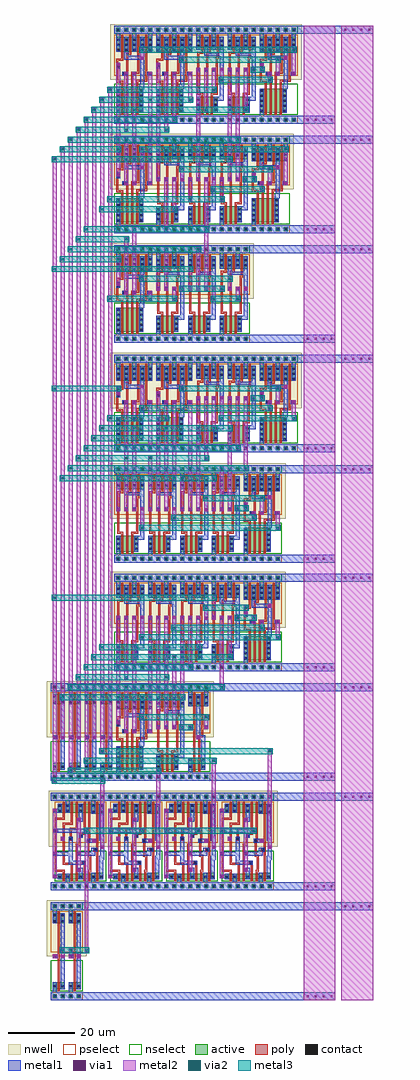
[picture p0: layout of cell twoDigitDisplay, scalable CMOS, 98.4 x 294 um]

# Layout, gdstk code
import gdstk
lib = gdstk.Library(unit=1e-6, precision=1e-09)
def R(c, l, rs):  # rectangles x0, y0, x1, y1
    for r in rs: c.add(gdstk.rectangle(r[:2], r[2:], *l))
def A(c, l, x, y, w, h, nx, ny, dx, dy):  # array of equal rectangles
    R(c, l, [(x+i*dx, y+j*dy, x+i*dx+w, y+j*dy+h) for i in range(nx) for j in range(ny)])
def P(c, l, *ps):  # polygons
    for p in ps: c.add(gdstk.Polygon(p, *l))
contact = (25, 0)
nwell = (42, 0)
active = (43, 0)
pselect = (44, 0)
nselect = (45, 0)
poly = (46, 0)
metal1 = (49, 0)
via1 = (50, 0)
metal2 = (51, 0)
via2 = (61, 0)
metal3 = (62, 0)

nand4_1x = lib.new_cell('nand4_1x')
A(nand4_1x, contact, 0.9, -0.3, 0.6, 0.6, 5, 2, 2.4, 21)
A(nand4_1x, contact, 0.9, 2.4, 0.6, 0.6, 1, 5, 0, 1.5)
A(nand4_1x, contact, 7.8, 2.4, 0.6, 0.6, 1, 5, 0, 1.5)
A(nand4_1x, contact, 0.9, 22.2, 0.6, 0.6, 5, 2, 2.4, 1.5)
A(nand4_1x, contact, 0.9, 26.7, 0.6, 0.6, 5, 1, 2.4, 0)
R(nand4_1x, contact, [(2.7,13.5,3.3,14.1), (5.7,13.5,6.3,14.1), (10.2,13.5,10.8,14.1), (0.9,15.6,1.5,16.2)])
R(nand4_1x, nwell, [(-1.2,12,13.2,28.8)])
A(nand4_1x, active, 0.6, -0.6, 1.2, 1.2, 5, 2, 2.4, 27)
R(nand4_1x, active, [(0.6,2.1,8.7,9.3), (0.6,20.4,11.4,24.9)])
R(nand4_1x, pselect, [(0,-1.2,12,1.2), (0,13.2,12,25.5)])
R(nand4_1x, nselect, [(0,1.5,12,10.8), (0,25.8,12,28.2)])
P(nand4_1x, poly, [(2.7,11.7),(1.2,11.7),(1.2,15.3),(1.8,15.3),(1.8,16.5),(1.2,16.5),(1.2,17.7),(2.7,17.7),(2.7,25.5),(2.1,25.5),(2.1,18.3),(0.6,18.3),(0.6,11.1),(2.1,11.1),(2.1,1.5),(2.7,1.5)],
  [(5.1,25.5),(4.5,25.5),(4.5,20.1),(3.6,20.1),(3.6,14.4),(2.4,14.4),(2.4,13.2),(3.6,13.2),(3.6,1.5),(4.2,1.5),(4.2,19.5),(5.1,19.5)],
  [(7.5,25.5),(6.9,25.5),(6.9,14.4),(5.1,14.4),(5.1,1.5),(5.7,1.5),(5.7,13.2),(6.6,13.2),(6.6,13.8),(7.5,13.8)],
  [(11.1,14.4),(9.9,14.4),(9.9,25.5),(9.3,25.5),(9.3,12),(6.6,12),(6.6,1.5),(7.2,1.5),(7.2,11.4),(9.9,11.4),(9.9,13.2),(11.1,13.2)])
R(nand4_1x, metal1, [(0,-1.2,12,1.2), (2.4,13.2,4.2,14.4), (5.4,13.2,6.6,14.4), (9.9,13.2,11.4,14.4), (0.6,15.3,1.8,17.1), (0,25.8,12,28.2)])
P(nand4_1x, metal1, [(12,28.2),(0,28.2),(0,25.8),(0.6,25.8),(0.6,20.4),(1.8,20.4),(1.8,25.8),(5.4,25.8),(5.4,20.4),(6.6,20.4),(6.6,25.8),(10.2,25.8),(10.2,20.4),(11.4,20.4),(11.4,25.8),(12,25.8)],
  [(12,1.2),(1.8,1.2),(1.8,9.3),(0.6,9.3),(0.6,1.2),(0,1.2),(0,-1.2),(12,-1.2)],
  [(9,24.9),(7.8,24.9),(7.8,19.2),(4.2,19.2),(4.2,24.9),(3,24.9),(3,18),(7.8,18),(7.8,10.5),(7.5,10.5),(7.5,2.1),(8.7,2.1),(8.7,9.3),(9,9.3)])
R(nand4_1x, via1, [(3.3,13.5,3.9,14.1), (5.7,13.5,6.3,14.1), (10.5,13.5,11.1,14.1), (0.9,16.2,1.5,16.8), (8.1,18.3,8.7,18.9)])
R(nand4_1x, metal2, [(3,13.2,4.2,14.4), (5.4,13.2,6.6,14.4), (10.2,13.2,11.4,14.4), (0.6,15.9,1.8,17.1), (7.8,18,9,19.2)])

nand3_1x = lib.new_cell('nand3_1x')
A(nand3_1x, contact, 0.9, -0.3, 0.6, 0.6, 4, 2, 2.4, 22.2)
A(nand3_1x, contact, 0.9, 2.7, 0.6, 0.6, 1, 3, 0, 1.5)
A(nand3_1x, contact, 6.3, 2.7, 0.6, 0.6, 1, 3, 0, 1.5)
A(nand3_1x, contact, 0.9, 14.7, 0.6, 0.6, 3, 1, 2.4, 0)
A(nand3_1x, contact, 0.9, 23.4, 0.6, 0.6, 4, 2, 2.4, 3.3)
R(nand3_1x, nwell, [(-1.2,12,10.8,28.8)])
A(nand3_1x, active, 0.6, -0.6, 1.2, 1.2, 4, 2, 2.4, 27)
R(nand3_1x, active, [(0.6,2.1,7.2,6.9), (0.6,21,9,24.9)])
R(nand3_1x, pselect, [(0,-1.2,9.6,1.2), (0,13.2,9.6,25.5)])
R(nand3_1x, nselect, [(0,1.5,9.6,10.8), (0,25.8,9.6,28.2)])
A(nand3_1x, poly, 0.6, 14.4, 1.2, 1.2, 3, 1, 2.4, 0)
P(nand3_1x, poly, [(2.7,8.1),(1.5,8.1),(1.5,19.8),(2.7,19.8),(2.7,25.5),(2.1,25.5),(2.1,20.4),(0.9,20.4),(0.9,7.5),(2.1,7.5),(2.1,1.5),(2.7,1.5)],
  [(5.1,25.5),(4.5,25.5),(4.5,20.4),(3.6,20.4),(3.6,1.5),(4.2,1.5),(4.2,19.8),(5.1,19.8)],
  [(7.5,25.5),(6.9,25.5),(6.9,18.9),(6.6,18.9),(6.6,8.1),(5.1,8.1),(5.1,1.5),(5.7,1.5),(5.7,7.5),(7.2,7.5),(7.2,18.3),(7.5,18.3)])
A(nand3_1x, metal1, 0.6, 14.4, 1.2, 1.2, 3, 1, 2.4, 0)
R(nand3_1x, metal1, [(0,-1.2,9.6,1.2), (0,25.8,9.6,28.2)])
P(nand3_1x, metal1, [(9,24.9),(7.8,24.9),(7.8,20.1),(4.2,20.1),(4.2,24.9),(3,24.9),(3,19.2),(7.8,19.2),(7.8,6.9),(6,6.9),(6,2.1),(7.2,2.1),(7.2,5.7),(9,5.7)],
  [(9.6,28.2),(0,28.2),(0,25.8),(0.6,25.8),(0.6,21),(1.8,21),(1.8,25.8),(5.4,25.8),(5.4,21),(6.6,21),(6.6,25.8),(9.6,25.8)],
  [(9.6,1.2),(1.8,1.2),(1.8,6.9),(0.6,6.9),(0.6,1.2),(0,1.2),(0,-1.2),(9.6,-1.2)])
A(nand3_1x, via1, 0.9, 14.7, 0.6, 0.6, 4, 1, 2.4, 0)
A(nand3_1x, metal2, 0.6, 14.4, 1.2, 1.2, 4, 1, 2.4, 0)

nand2_1x = lib.new_cell('nand2_1x')
A(nand2_1x, contact, 0.9, -0.3, 0.6, 0.6, 3, 2, 2.4, 22.2)
A(nand2_1x, contact, 0.9, 23.7, 0.6, 0.6, 3, 2, 2.4, 3)
R(nand2_1x, contact, [(0.9,2.7,1.5,3.3), (4.8,2.7,5.4,3.3), (0.9,4.8,1.5,5.4), (4.8,4.8,5.4,5.4), (0.9,14.7,1.5,15.3), (5.7,14.7,6.3,15.3)])
R(nand2_1x, nwell, [(-1.2,12,8.4,28.8)])
A(nand2_1x, active, 0.6, -0.6, 1.2, 1.2, 3, 2, 2.4, 27)
R(nand2_1x, active, [(0.6,2.1,5.7,5.7), (0.6,21.3,6.6,24.9)])
R(nand2_1x, pselect, [(0,-1.2,7.2,1.2), (0,13.2,7.2,25.5)])
R(nand2_1x, nselect, [(0,1.5,7.2,10.8), (0,25.8,7.2,28.2)])
P(nand2_1x, poly, [(2.7,25.5),(2.1,25.5),(2.1,15.6),(0.6,15.6),(0.6,14.4),(2.1,14.4),(2.1,1.5),(2.7,1.5)],
  [(6.6,15.6),(5.1,15.6),(5.1,25.5),(4.5,25.5),(4.5,12.6),(3.6,12.6),(3.6,1.5),(4.2,1.5),(4.2,12),(5.1,12),(5.1,14.4),(6.6,14.4)])
R(nand2_1x, metal1, [(0,-1.2,7.2,1.2), (0.6,14.4,1.8,15.6), (5.4,14.4,6.6,15.6), (0,25.8,7.2,28.2)])
P(nand2_1x, metal1, [(5.7,12.6),(4.2,12.6),(4.2,24.9),(3,24.9),(3,11.4),(4.5,11.4),(4.5,2.1),(5.7,2.1)],
  [(7.2,28.2),(0,28.2),(0,25.8),(0.6,25.8),(0.6,21.3),(1.8,21.3),(1.8,25.8),(5.4,25.8),(5.4,21.3),(6.6,21.3),(6.6,25.8),(7.2,25.8)],
  [(7.2,1.2),(1.8,1.2),(1.8,5.7),(0.6,5.7),(0.6,1.2),(0,1.2),(0,-1.2),(7.2,-1.2)])
R(nand2_1x, via1, [(3.3,11.7,3.9,12.3), (0.9,14.7,1.5,15.3), (5.7,14.7,6.3,15.3)])
R(nand2_1x, metal2, [(3,11.4,4.2,12.6), (3,11.4,4.2,12.6), (0.6,14.4,1.8,15.6), (0.6,14.4,1.8,15.6), (5.4,14.4,6.6,15.6), (5.4,14.4,6.6,15.6)])

inv_1x = lib.new_cell('inv_1x')
R(inv_1x, contact, [(0.9,-0.3,1.5,0.3), (3.3,-0.3,3.9,0.3), (0.9,2.7,1.5,3.3), (3.3,2.7,3.9,3.3), (0.9,11.7,1.5,12.3), (0.9,22.2,1.5,22.8), (3.3,22.2,3.9,22.8), (0.9,24,1.5,24.6), (3.3,24,3.9,24.6), (0.9,26.7,1.5,27.3), (3.3,26.7,3.9,27.3)])
R(inv_1x, nwell, [(-1.2,12,6,28.8)])
R(inv_1x, active, [(0.6,-0.6,1.8,0.6), (3,-0.6,4.2,0.6), (0.6,2.1,4.2,4.2), (0.6,21.9,4.2,24.9), (0.6,26.4,1.8,27.6), (3,26.4,4.2,27.6)])
R(inv_1x, pselect, [(0,-1.2,4.8,1.2), (0,13.2,4.8,25.5)])
R(inv_1x, nselect, [(0,1.5,4.8,10.8), (0,25.8,4.8,28.2)])
R(inv_1x, poly, [(2.1,1.5,2.7,25.5), (0.6,11.4,2.1,12.6)])
R(inv_1x, metal1, [(0,-1.2,4.8,1.2), (0,-1.2,4.8,1.2), (0.6,1.2,1.8,4.2), (3,2.1,4.2,24.9), (0.6,11.4,1.8,12.6), (0.6,21.9,1.8,25.8), (0,25.8,4.8,28.2), (0,25.8,4.8,28.2)])
R(inv_1x, via1, [(0.9,11.7,1.5,12.3), (3.3,11.7,3.9,12.3)])
R(inv_1x, metal2, [(0.6,11.4,1.8,12.6), (0.6,11.4,1.8,12.6), (0.6,11.4,1.8,12.6), (0.9,11.4,2.1,12.6), (3,11.4,4.2,12.6), (3,11.4,4.2,12.6)])

sevensegdec = lib.new_cell('sevenSegDec')
R(sevensegdec, metal1, [(26.4,-1.2,66.6,1.2), (26.4,25.8,78,28.2), (48,31.8,66.6,34.2), (48,58.8,78,61.2), (48,64.5,66.6,66.9), (48,91.5,78,93.9), (52.8,97.8,66.6,100.2), (52.8,124.8,78,127.2), (38.4,130.8,66.6,133.2), (38.4,157.8,78,160.2), (50.4,163.8,66.6,166.2), (50.4,190.8,78,193.2), (52.8,196.8,66.6,199.2), (52.8,223.8,78,226.2)])
A(sevensegdec, via1, 57.9, -0.3, 0.6, 0.6, 4, 2, 2.4, 33)
A(sevensegdec, via1, 69.3, 26.7, 0.6, 0.6, 4, 2, 2.4, 33)
A(sevensegdec, via1, 57.9, 65.4, 0.6, 0.6, 4, 2, 2.4, 33.3)
A(sevensegdec, via1, 69.3, 92.4, 0.6, 0.6, 4, 2, 2.4, 33.3)
A(sevensegdec, via1, 57.9, 131.7, 0.6, 0.6, 4, 3, 2.4, 33)
A(sevensegdec, via1, 69.3, 158.7, 0.6, 0.6, 4, 3, 2.4, 33)
A(sevensegdec, metal2, -13.8, 11.4, 1.2, 1.2, 3, 1, 4.8, 0)
R(sevensegdec, metal2, [(57,-1.2,66.6,226.2), (68.4,-1.2,78,226.2), (-18.6,11.4,-17.4,186.6), (-18.6,11.4,-17.4,12.6), (-18.6,11.4,-17.4,12.6), (-16.2,11.4,-15,189.6), (-13.8,11.4,-12.6,192.6), (-13.8,11.4,-12.6,12.6), (-11.4,11.4,-10.2,195.6), (-9,11.4,-7.8,198.6), (-6.6,11.4,-5.4,201.6), (-4.2,11.4,-3,204.6), (-4.2,11.4,-3,12.6), (-1.8,11.4,-0.6,207.6), (24.6,11.4,25.8,12.6), (3,13.2,4.2,27.6), (5.4,13.2,6.6,48.6), (10.2,13.2,11.4,48.6), (12.6,14.4,13.8,48.6), (15,14.4,16.2,48.6), (17.4,14.4,18.6,36.6), (27,14.4,28.2,18.6), (0.6,15.9,1.8,48.6), (7.8,17.4,9,19.2), (19.8,23.4,21,48.6), (31.8,26.4,33,48.6), (3,29.4,4.2,48.6), (22.2,32.4,23.4,48.6), (34.2,35.4,35.4,48.6), (24.6,38.4,25.8,48.6), (7.8,41.4,9,48.6), (48.6,41.4,49.8,47.4), (17.4,44.4,18.6,48.6), (43.8,44.4,45,47.4), (41.4,46.2,42.6,48.6), (27,47.4,28.2,51.6), (29.4,47.4,30.6,54.6), (39,48.9,40.2,51.6), (46.2,51,47.4,52.2), (7.8,74.4,9,81.3), (48.6,74.4,49.8,80.1), (17.4,77.4,18.6,81.3), (41.4,77.4,42.6,80.1), (43.8,78.9,45,84.6), (0.6,80.1,1.8,90.6), (3,80.1,4.2,96.6), (5.4,80.1,6.6,105.6), (10.2,80.1,11.4,96.6), (12.6,80.1,13.8,102.6), (15,80.1,16.2,105.6), (19.8,80.1,21,90.6), (22.2,80.1,23.4,93.6), (24.6,80.1,25.8,102.6), (27,80.1,28.2,84.6), (29.4,80.1,30.6,90.6), (31.8,80.1,33,93.6), (34.2,80.1,35.4,105.6), (36.6,80.1,37.8,81.6), (39,80.4,40.2,82.8), (46.2,83.7,47.4,84.9), (17.4,89.4,18.6,113.4), (22.2,92.4,23.4,113.4), (39,92.4,40.2,114.6), (3,95.4,4.2,113.4), (27,95.4,28.2,114.6), (10.2,98.4,11.4,113.4), (36.6,98.4,37.8,114.6), (12.6,101.4,13.8,116.1), (24.6,101.4,25.8,114.6), (29.4,104.4,30.6,114.6), (34.2,104.4,35.4,114.6), (5.4,107.4,6.6,113.4), (15,107.4,16.2,113.4), (31.8,107.4,33,114.6), (53.4,107.4,54.6,113.4), (7.8,110.4,9,118.2), (46.2,110.4,47.4,113.4), (48.6,112.2,49.8,117.6), (43.8,113.4,45,116.1), (0.6,114.9,1.8,117.6), (19.8,116.4,21,118.2), (51,117,52.2,118.2), (10.2,143.4,11.4,146.4), (17.4,143.4,18.6,147.6), (29.4,143.4,30.6,147.6), (36.6,143.4,37.8,147.6), (3,145.2,4.2,162.6), (5.4,145.2,6.6,165.6), (12.6,146.4,13.8,153.6), (15,146.4,16.2,159.6), (22.2,146.4,23.4,153.6), (24.6,146.4,25.8,159.6), (27,146.4,28.2,165.6), (34.2,146.4,35.4,150.6), (39,146.4,40.2,147.6), (0.6,147.9,1.8,156.6), (7.8,149.4,9,151.2), (15,164.4,16.2,180.6), (27,164.4,28.2,180.6), (17.4,170.4,18.6,180.6), (22.2,173.4,23.4,180.6), (31.8,173.4,33,180.6), (29.4,176.4,30.6,180.6), (43.8,176.4,45,179.4), (3,178.2,4.2,192.6), (5.4,178.2,6.6,201.6), (10.2,178.2,11.4,204.6), (46.2,178.2,47.4,183.6), (51,178.2,52.2,189.6), (12.6,179.4,13.8,215.1), (19.8,179.4,21,183.6), (24.6,179.4,25.8,192.6), (34.2,179.4,35.4,186.6), (36.6,179.4,37.8,192.6), (41.4,179.4,42.6,182.1), (0.6,180.9,1.8,189.6), (7.8,183,9,189.6), (48.6,183,49.8,184.2), (34.2,185.4,35.4,213.6), (0.6,188.4,1.8,215.1), (24.6,191.4,25.8,213.6), (36.6,191.4,37.8,213.6), (3,194.4,4.2,212.4), (15,194.4,16.2,212.4), (17.4,197.4,18.6,212.4), (5.4,200.4,6.6,212.4), (27,200.4,28.2,213.6), (39,200.4,40.2,213.6), (10.2,203.4,11.4,212.4), (22.2,203.4,23.4,212.4), (29.4,206.4,30.6,213.6), (31.8,209.4,33,213.6), (46.2,209.4,47.4,212.4), (48.6,211.2,49.8,216.6), (53.4,211.2,54.6,219.6), (43.8,212.4,45,215.1), (19.8,215.4,21,217.2), (7.8,216,9,219.6), (51,216,52.2,217.2)])
A(sevensegdec, via2, 27.3, 17.7, 0.6, 0.6, 1, 3, 0, 33)
A(sevensegdec, via2, -13.5, 26.7, 0.6, 0.6, 1, 3, 0, 66)
A(sevensegdec, via2, -11.1, 29.7, 0.6, 0.6, 1, 3, 0, 66)
A(sevensegdec, via2, 3.3, 29.7, 0.6, 0.6, 1, 3, 0, 66)
A(sevensegdec, via2, -8.7, 32.7, 0.6, 0.6, 1, 3, 0, 66)
A(sevensegdec, via2, 22.5, 32.7, 0.6, 0.6, 1, 3, 0, 60)
A(sevensegdec, via2, -3.9, 38.7, 0.6, 0.6, 3, 1, 14.4, 0)
A(sevensegdec, via2, -15.9, 89.7, 0.6, 0.6, 3, 1, 16.8, 0)
A(sevensegdec, via2, -3.9, 104.7, 0.6, 0.6, 3, 1, 9.6, 0)
A(sevensegdec, via2, 8.1, 110.7, 0.6, 0.6, 1, 3, 0, 39)
A(sevensegdec, via2, -18.3, 116.7, 0.6, 0.6, 3, 1, 19.2, 0)
A(sevensegdec, via2, 17.7, 143.7, 0.6, 0.6, 1, 3, 0, 27)
R(sevensegdec, via2, [(20.1,14.7,20.7,15.3), (22.5,14.7,23.1,15.3), (8.1,17.7,8.7,18.3), (-15.9,23.7,-15.3,24.3), (0.9,23.7,1.5,24.3), (12.9,23.7,13.5,24.3), (20.1,23.7,20.7,24.3), (3.3,26.7,3.9,27.3), (32.1,26.7,32.7,27.3), (15.3,29.7,15.9,30.3), (5.7,32.7,6.3,33.3), (-6.3,35.7,-5.7,36.3), (17.7,35.7,18.3,36.3), (34.5,35.7,35.1,36.3), (8.1,41.7,8.7,42.3), (48.9,41.7,49.5,42.3), (17.7,44.7,18.3,45.3), (44.1,44.7,44.7,45.3), (36.9,47.7,37.5,48.3), (41.7,47.7,42.3,48.3), (39.3,50.7,39.9,51.3), (-18.3,53.7,-17.7,54.3), (29.7,53.7,30.3,54.3), (8.1,74.7,8.7,75.3), (48.9,74.7,49.5,75.3), (17.7,77.7,18.3,78.3), (41.7,77.7,42.3,78.3), (36.9,80.7,37.5,81.3), (39.3,80.7,39.9,81.3), (44.1,83.7,44.7,84.3), (20.1,89.7,20.7,90.3), (29.7,89.7,30.3,90.3), (32.1,92.7,32.7,93.3), (39.3,92.7,39.9,93.3), (10.5,95.7,11.1,96.3), (27.3,95.7,27.9,96.3), (10.5,98.7,11.1,99.3), (36.9,98.7,37.5,99.3), (-6.3,101.7,-5.7,102.3), (12.9,101.7,13.5,102.3), (24.9,101.7,25.5,102.3), (29.7,104.7,30.3,105.3), (34.5,104.7,35.1,105.3), (-1.5,107.7,-0.9,108.3), (5.7,107.7,6.3,108.3), (15.3,107.7,15.9,108.3), (32.1,107.7,32.7,108.3), (53.7,107.7,54.3,108.3), (46.5,110.7,47.1,111.3), (41.7,113.7,42.3,114.3), (44.1,113.7,44.7,114.3), (48.9,116.7,49.5,117.3), (-1.5,143.7,-0.9,144.3), (10.5,143.7,11.1,144.3), (29.7,143.7,30.3,144.3), (36.9,143.7,37.5,144.3), (20.1,146.7,20.7,147.3), (32.1,146.7,32.7,147.3), (34.5,149.7,35.1,150.3), (-18.3,152.7,-17.7,153.3), (12.9,152.7,13.5,153.3), (-15.9,155.7,-15.3,156.3), (0.9,155.7,1.5,156.3), (15.3,158.7,15.9,159.3), (24.9,158.7,25.5,159.3), (5.7,164.7,6.3,165.3), (15.3,164.7,15.9,165.3), (27.3,164.7,27.9,165.3), (-3.9,170.7,-3.3,171.3), (-1.5,173.7,-0.9,174.3), (22.5,173.7,23.1,174.3), (32.1,173.7,32.7,174.3), (29.7,176.7,30.3,177.3), (44.1,176.7,44.7,177.3), (39.3,179.7,39.9,180.3), (41.7,179.7,42.3,180.3), (20.1,182.7,20.7,183.3), (46.5,182.7,47.1,183.3), (-18.3,185.7,-17.7,186.3), (12.9,185.7,13.5,186.3), (34.5,185.7,35.1,186.3), (-15.9,188.7,-15.3,189.3), (0.9,188.7,1.5,189.3), (51.3,188.7,51.9,189.3), (-13.5,191.7,-12.9,192.3), (3.3,191.7,3.9,192.3), (24.9,191.7,25.5,192.3), (36.9,191.7,37.5,192.3), (-11.1,194.7,-10.5,195.3), (3.3,194.7,3.9,195.3), (15.3,194.7,15.9,195.3), (-8.7,197.7,-8.1,198.3), (-6.3,200.7,-5.7,201.3), (5.7,200.7,6.3,201.3), (27.3,200.7,27.9,201.3), (39.3,200.7,39.9,201.3), (-3.9,203.7,-3.3,204.3), (10.5,203.7,11.1,204.3), (22.5,203.7,23.1,204.3), (-1.5,206.7,-0.9,207.3), (29.7,206.7,30.3,207.3), (32.1,209.7,32.7,210.3), (46.5,209.7,47.1,210.3), (41.7,212.7,42.3,213.3), (44.1,212.7,44.7,213.3), (20.1,215.7,20.7,216.3), (48.9,215.7,49.5,216.3), (8.1,218.7,8.7,219.3), (53.7,218.7,54.3,219.3)])
R(sevensegdec, metal3, [(19.5,14.1,23.7,15.9), (7.5,17.1,28.5,18.9), (-16.5,23.1,21.3,24.9), (-14.1,26.1,33.3,27.9), (-11.7,29.1,16.5,30.9), (-9.3,32.1,23.7,33.9), (-6.9,35.1,35.7,36.9), (-4.5,38.1,26.4,39.9), (7.5,41.1,50.1,42.9), (17.1,44.1,45.3,45.9), (36.3,47.1,42.9,48.9), (26.7,50.1,40.5,51.9), (-18.9,53.1,30.9,54.9), (7.5,74.1,50.1,75.9), (17.1,77.1,42.9,78.9), (36.3,80.1,40.5,81.9), (26.7,83.1,45.3,84.9), (-16.5,89.1,30.9,90.9), (-14.1,92.1,40.5,93.9), (-11.7,95.1,28.5,96.9), (-9.3,98.1,38.1,99.9), (-6.9,101.1,26.1,102.9), (-4.5,104.1,35.7,105.9), (-2.1,107.1,16.5,108.9), (31.5,107.1,54.9,108.9), (7.5,110.1,47.7,111.9), (41.1,113.1,45.3,114.9), (-18.9,116.1,2.1,117.9), (19.5,116.1,50.1,117.9), (-2.1,143.1,18.9,144.9), (29.1,143.1,38.1,144.9), (19.5,146.1,33.3,147.9), (7.5,149.1,35.7,150.9), (-18.9,152.1,23.7,153.9), (-16.5,155.1,2.1,156.9), (-14.1,158.1,26.1,159.9), (-11.7,161.1,4.5,162.9), (-9.3,164.1,28.5,165.9), (-4.5,170.1,18.9,171.9), (-2.1,173.1,33.3,174.9), (29.1,176.1,45.3,177.9), (38.7,179.1,42.9,180.9), (19.5,182.1,47.7,183.9), (-18.9,185.1,35.7,186.9), (-16.5,188.1,2.1,189.9), (7.5,188.1,52.5,189.9), (-14.1,191.1,38.1,192.9), (-11.7,194.1,16.5,195.9), (-9.3,197.1,18.9,198.9), (-6.9,200.1,40.5,201.9), (-4.5,203.1,23.7,204.9), (-2.1,206.1,30.9,207.9), (31.5,209.1,47.7,210.9), (41.1,212.1,45.3,213.9), (19.5,215.1,50.1,216.9), (7.5,218.1,54.9,219.9)])
sevensegdec.add(gdstk.Reference(nand4_1x, (43.2,198)))
sevensegdec.add(gdstk.Reference(nand4_1x, (12,198)))
sevensegdec.add(gdstk.Reference(nand4_1x, (0,198)))
sevensegdec.add(gdstk.Reference(nand4_1x, (40.8,165)))
sevensegdec.add(gdstk.Reference(nand4_1x, (0,165)))
sevensegdec.add(gdstk.Reference(nand4_1x, (0,132)))
sevensegdec.add(gdstk.Reference(nand4_1x, (43.2,99)))
sevensegdec.add(gdstk.Reference(nand4_1x, (12,99)))
sevensegdec.add(gdstk.Reference(nand4_1x, (0,99)))
sevensegdec.add(gdstk.Reference(nand4_1x, (38.4,33)))
sevensegdec.add(gdstk.Reference(nand4_1x, (38.4,65.7)))
sevensegdec.add(gdstk.Reference(nand4_1x, (0,0)))
sevensegdec.add(gdstk.Reference(nand3_1x, (33.6,198)))
sevensegdec.add(gdstk.Reference(nand3_1x, (24,198)))
sevensegdec.add(gdstk.Reference(nand3_1x, (31.2,165)))
sevensegdec.add(gdstk.Reference(nand3_1x, (21.6,165)))
sevensegdec.add(gdstk.Reference(nand3_1x, (12,165)))
sevensegdec.add(gdstk.Reference(nand3_1x, (31.2,132)))
sevensegdec.add(gdstk.Reference(nand3_1x, (21.6,132)))
sevensegdec.add(gdstk.Reference(nand3_1x, (12,132)))
sevensegdec.add(gdstk.Reference(nand3_1x, (33.6,99)))
sevensegdec.add(gdstk.Reference(nand3_1x, (24,99)))
sevensegdec.add(gdstk.Reference(nand3_1x, (28.8,33)))
sevensegdec.add(gdstk.Reference(nand3_1x, (19.2,33)))
sevensegdec.add(gdstk.Reference(nand3_1x, (9.6,33)))
sevensegdec.add(gdstk.Reference(nand3_1x, (0,33)))
sevensegdec.add(gdstk.Reference(nand3_1x, (28.8,65.7)))
sevensegdec.add(gdstk.Reference(nand3_1x, (19.2,65.7)))
sevensegdec.add(gdstk.Reference(nand3_1x, (9.6,65.7)))
sevensegdec.add(gdstk.Reference(nand3_1x, (0,65.7)))
sevensegdec.add(gdstk.Reference(nand3_1x, (12,0)))
sevensegdec.add(gdstk.Reference(nand2_1x, (21.6,0)))
sevensegdec.add(gdstk.Reference(inv_1x, (-4.8,0)))
sevensegdec.add(gdstk.Reference(inv_1x, (-9.6,0)))
sevensegdec.add(gdstk.Reference(inv_1x, (-14.4,0)))
sevensegdec.add(gdstk.Reference(inv_1x, (-19.2,0)))

mux2_c_1x = lib.new_cell('mux2_c_1x')
A(mux2_c_1x, contact, 9.3, -0.3, 0.6, 0.6, 7, 2, 2.4, 27)
A(mux2_c_1x, contact, 13.2, 2.7, 0.6, 0.6, 3, 2, 3.9, 21.3)
R(mux2_c_1x, contact, [(10.8,2.7,11.4,3.3), (23.4,2.7,24,3.3), (18,6.9,18.6,7.5), (21.6,10.8,22.2,11.4), (19.5,13.5,20.1,14.1), (11.7,14.1,12.3,14.7), (14.1,14.1,14.7,14.7), (17.1,15,17.7,15.6), (9.6,16.5,10.2,17.1), (21,22.2,21.6,22.8), (23.4,22.2,24,22.8), (10.8,22.5,11.4,23.1), (13.2,22.5,13.8,23.1), (17.1,22.5,17.7,23.1), (10.8,24,11.4,24.6), (23.4,24,24,24.6)])
R(mux2_c_1x, nwell, [(7.8,12,26.4,28.8)])
A(mux2_c_1x, active, 9, -0.6, 1.2, 1.2, 7, 2, 2.4, 27)
P(mux2_c_1x, active, [(24.3,24.9),(10.5,24.9),(10.5,22.2),(20.7,22.2),(20.7,21.9),(24.3,21.9)],
  [(24.3,4.2),(20.7,4.2),(20.7,3.9),(10.5,3.9),(10.5,2.1),(24.3,2.1)])
R(mux2_c_1x, pselect, [(8.4,-1.2,25.2,1.2), (9.6,13.2,25.2,25.5)])
R(mux2_c_1x, nselect, [(9.6,1.5,25.2,10.8), (8.4,25.8,25.2,28.2)])
R(mux2_c_1x, poly, [(12,1.5,12.6,5.1), (14.4,1.5,15,7.2), (9.6,4.5,10.2,20.7), (10.2,4.5,12,5.1), (12,6.6,14.4,7.2), (12,6.9,12.6,19.2), (11.4,13.8,12.6,15), (9.3,16.2,10.5,17.4), (12.3,18.6,15,19.2), (14.4,19.2,15,25.5), (10.2,20.1,12,20.7), (12,20.1,12.6,25.5)])
P(mux2_c_1x, poly, [(22.8,25.5),(22.2,25.5),(22.2,11.7),(21.3,11.7),(21.3,10.5),(22.2,10.5),(22.2,1.5),(22.8,1.5)],
  [(20.7,9.6),(20.1,9.6),(20.1,13.2),(20.4,13.2),(20.4,25.5),(19.8,25.5),(19.8,14.4),(19.2,14.4),(19.2,13.2),(19.5,13.2),(19.5,9),(20.1,9),(20.1,5.1),(19.8,5.1),(19.8,1.5),(20.4,1.5),(20.4,4.5),(20.7,4.5)],
  [(18.9,7.8),(17.7,7.8),(17.7,6.6),(18.3,6.6),(18.3,1.5),(18.9,1.5)],
  [(18.9,25.5),(18.3,25.5),(18.3,16.2),(16.8,16.2),(16.8,12.9),(15.9,12.9),(15.9,1.5),(16.5,1.5),(16.5,12.3),(17.4,12.3),(17.4,14.7),(18,14.7),(18,15.6),(18.9,15.6)],
  [(16.5,25.5),(15.9,25.5),(15.9,17.7),(14.1,17.7),(14.1,15),(13.8,15),(13.8,13.8),(15,13.8),(15,15),(14.7,15),(14.7,17.1),(16.5,17.1)])
R(mux2_c_1x, metal1, [(10.5,2.1,11.7,3.9), (9,2.4,10.5,3.6), (9,9.3,15,10.5), (19.2,13.2,22.2,14.4), (11.4,13.8,12.6,15), (16.8,14.7,18,17.4), (9.3,16.2,10.5,17.4), (10.5,16.2,18,17.4), (18,16.2,19.8,17.4), (9,22.2,11.7,23.4), (10.5,22.2,11.7,24.9)])
P(mux2_c_1x, metal1, [(25.2,28.2),(8.4,28.2),(8.4,25.8),(12.9,25.8),(12.9,22.2),(14.1,22.2),(14.1,25.8),(20.7,25.8),(20.7,21.9),(21.9,21.9),(21.9,25.8),(25.2,25.8)],
  [(22.5,11.7),(20.7,11.7),(20.7,10.5),(16.2,10.5),(16.2,9.3),(21.9,9.3),(21.9,10.5),(22.5,10.5)],
  [(25.2,1.2),(21.9,1.2),(21.9,4.2),(20.7,4.2),(20.7,1.2),(14.1,1.2),(14.1,3.9),(12.9,3.9),(12.9,1.2),(8.4,1.2),(8.4,-1.2),(25.2,-1.2)],
  [(24.6,15),(24.3,15),(24.3,24.9),(23.1,24.9),(23.1,13.8),(23.4,13.8),(23.4,9.3),(23.1,9.3),(23.1,2.1),(24.3,2.1),(24.3,8.1),(24.6,8.1)],
  [(18.9,7.8),(15,7.8),(15,15),(13.8,15),(13.8,6.6),(18.9,6.6)],
  [(18,5.7),(16.2,5.7),(16.2,4.5),(16.8,4.5),(16.8,2.1),(18,2.1)],
  [(18,24.9),(16.8,24.9),(16.8,20.7),(16.2,20.7),(16.2,19.5),(18,19.5)])
R(mux2_c_1x, via1, [(9.3,2.7,9.9,3.3), (16.5,4.8,17.1,5.4), (9.3,9.6,9.9,10.2), (16.5,9.6,17.1,10.2), (23.7,11.7,24.3,12.3), (21.3,13.5,21.9,14.1), (11.7,14.1,12.3,14.7), (18.9,16.5,19.5,17.1), (16.5,19.8,17.1,20.4), (9.3,22.5,9.9,23.1)])
R(mux2_c_1x, metal2, [(9,2.4,10.2,23.4), (16.2,4.5,17.4,20.7), (23.4,11.4,24.6,12.6), (21,13.2,22.2,14.4), (11.4,13.8,12.6,15), (18.6,16.2,19.8,17.4)])

twodigitdisplay = lib.new_cell('twoDigitDisplay')
R(twodigitdisplay, metal1, [(6.9,-66,85.8,-63.6), (7.2,-39,97.2,-36.6), (64.8,-33,85.8,-30.6), (64.8,-6,97.2,-3.6)])
A(twodigitdisplay, via1, 77.1, -65.1, 0.6, 0.6, 4, 2, 2.4, 33)
A(twodigitdisplay, via1, 88.5, -38.1, 0.6, 0.6, 4, 2, 2.4, 33)
A(twodigitdisplay, metal2, 12.6, -18.6, 1.2, 1.2, 4, 1, 16.8, 0)
A(twodigitdisplay, metal2, 3, -18, 1.2, 1.2, 4, 1, 16.8, 0)
R(twodigitdisplay, metal2, [(76.2,-66,85.8,2.4), (87.6,-66,97.2,2.4), (0.6,-53.4,1.8,-52.2), (3,-53.4,4.2,-52.2), (3,-53.4,4.2,-50.4), (5.4,-53.4,6.6,-50.4), (7.8,-53.4,9,-52.2), (10.2,-51.6,11.4,-14.4), (15,-20.4,16.2,0.6), (31.8,-20.4,33,3.6), (48.6,-20.4,49.8,6.6), (65.4,-20.4,66.6,9.6), (0.6,-0.6,1.8,13.8), (5.4,2.4,6.6,13.8), (10.2,5.4,11.4,13.8), (15,8.4,16.2,13.8), (43.8,12.6,45,13.8), (65.4,52.2,66.6,53.4), (65.4,84.9,66.6,86.1), (70.2,118.2,71.4,119.4), (58.2,147.6,59.4,148.8), (67.8,184.2,69,185.4), (70.2,217.2,71.4,218.4)])
A(twodigitdisplay, via2, 10.5, -15.3, 0.6, 0.6, 4, 1, 16.8, 0)
R(twodigitdisplay, via2, [(3.3,-51.3,3.9,-50.7), (5.7,-51.3,6.3,-50.7), (10.5,-51.3,11.1,-50.7), (0.9,-0.3,1.5,0.3), (15.3,-0.3,15.9,0.3), (5.7,2.7,6.3,3.3), (32.1,2.7,32.7,3.3), (10.5,5.7,11.1,6.3), (48.9,5.7,49.5,6.3), (15.3,8.7,15.9,9.3), (65.7,8.7,66.3,9.3)])
R(twodigitdisplay, metal3, [(2.7,-51.9,11.7,-50.1), (9.9,-15.9,62.1,-14.1), (0.3,-0.9,16.5,0.9), (5.1,2.1,33.3,3.9), (9.9,5.1,50.1,6.9), (14.7,8.1,66.9,9.9)])
twodigitdisplay.add(gdstk.Reference(sevensegdec, (19.2,1.2)))
twodigitdisplay.add(gdstk.Reference(mux2_c_1x, (42,-31.8)))
twodigitdisplay.add(gdstk.Reference(mux2_c_1x, (25.2,-31.8)))
twodigitdisplay.add(gdstk.Reference(mux2_c_1x, (8.4,-31.8)))
twodigitdisplay.add(gdstk.Reference(mux2_c_1x, (-8.4,-31.8)))
twodigitdisplay.add(gdstk.Reference(inv_1x, (4.8,-64.8)))
twodigitdisplay.add(gdstk.Reference(inv_1x, (0,-64.8)))

lib.write_gds('twoDigitDisplay.gds')
